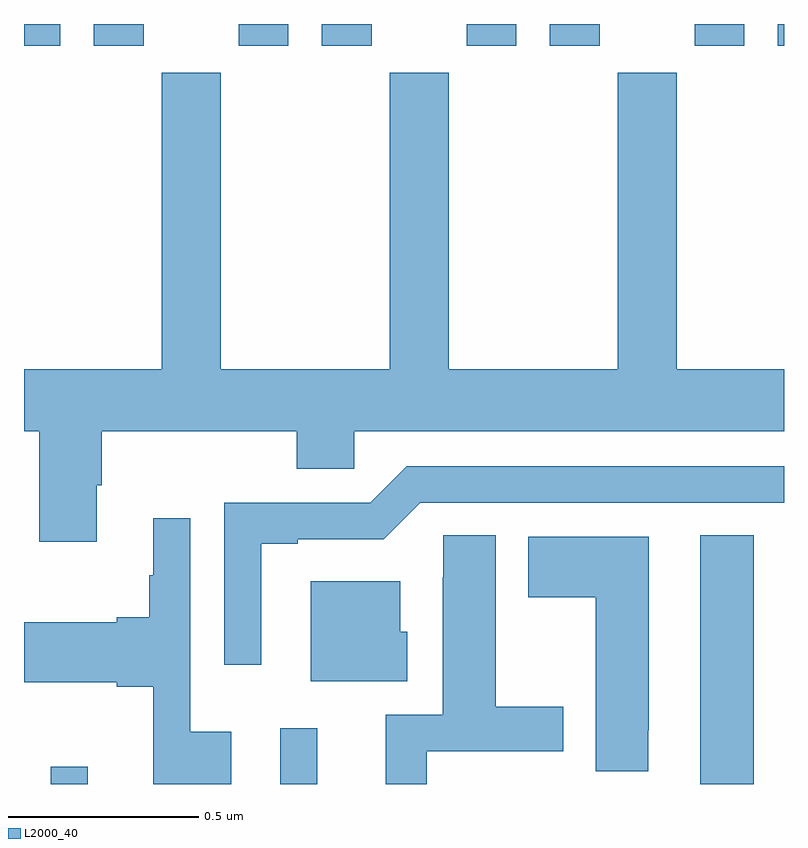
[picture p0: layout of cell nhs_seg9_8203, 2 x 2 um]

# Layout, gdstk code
import gdstk
lib = gdstk.Library(unit=1e-6, precision=1e-09)
def R(c, l, rs):  # rectangles x0, y0, x1, y1
    for r in rs: c.add(gdstk.rectangle(r[:2], r[2:], *l))
def P(c, l, *ps):  # polygons
    for p in ps: c.add(gdstk.Polygon(p, *l))
L2000_40 = (2000, 40)

nhs_seg9_8203 = lib.new_cell('nhs_seg9_8203')
R(nhs_seg9_8203, L2000_40, [(214.07,1187.5,214.168,1187.545), (214.674,1187.5,214.772,1187.647), (215.78,1187.5,215.92,1188.155), (214,1189.443,214.096,1189.5), (214.184,1189.443,214.315,1189.5), (214.565,1189.443,214.696,1189.5), (214.784,1189.443,214.915,1189.5), (215.165,1189.443,215.296,1189.5), (215.384,1189.443,215.515,1189.5), (215.765,1189.443,215.896,1189.5), (215.984,1189.443,216,1189.5)])
P(nhs_seg9_8203, L2000_40, [(214.192,1188.286),(214.205,1188.286),(214.205,1188.428),(214.718,1188.428),(214.718,1188.33),(214.869,1188.33),(214.869,1188.428),(216,1188.428),(216,1188.592),(215.718,1188.592),(215.718,1189.372),(215.563,1189.372),(215.563,1188.592),(215.118,1188.592),(215.118,1189.372),(214.963,1189.372),(214.963,1188.592),(214.518,1188.592),(214.518,1189.372),(214.363,1189.372),(214.363,1188.592),(214,1188.592),(214,1188.428),(214.04,1188.428),(214.04,1188.138),(214.192,1188.138)],
  [(214.624,1188.132),(214.72,1188.132),(214.72,1188.144),(214.947,1188.144),(215.043,1188.24),(216,1188.24),(216,1188.336),(215.007,1188.336),(214.911,1188.24),(214.527,1188.24),(214.527,1187.814),(214.624,1187.814)],
  [(214.546,1187.638),(214.437,1187.638),(214.437,1188.199),(214.34,1188.199),(214.34,1188.05),(214.329,1188.05),(214.329,1187.939),(214.244,1187.939),(214.244,1187.926),(214,1187.926),(214,1187.768),(214.244,1187.768),(214.244,1187.756),(214.34,1187.756),(214.34,1187.5),(214.546,1187.5)],
  [(215.06,1187.586),(215.419,1187.586),(215.419,1187.703),(215.242,1187.703),(215.242,1188.155),(215.103,1188.155),(215.103,1188.044),(215.102,1188.044),(215.102,1187.682),(214.952,1187.682),(214.952,1187.5),(215.06,1187.5)],
  [(215.643,1187.641),(215.644,1187.641),(215.644,1188.151),(215.327,1188.151),(215.327,1187.992),(215.504,1187.992),(215.504,1187.533),(215.643,1187.533)],
  [(215.008,1187.901),(214.99,1187.901),(214.99,1188.034),(214.754,1188.034),(214.754,1187.771),(215.008,1187.771)])

lib.write_gds('nhs_seg9_8203.gds')
